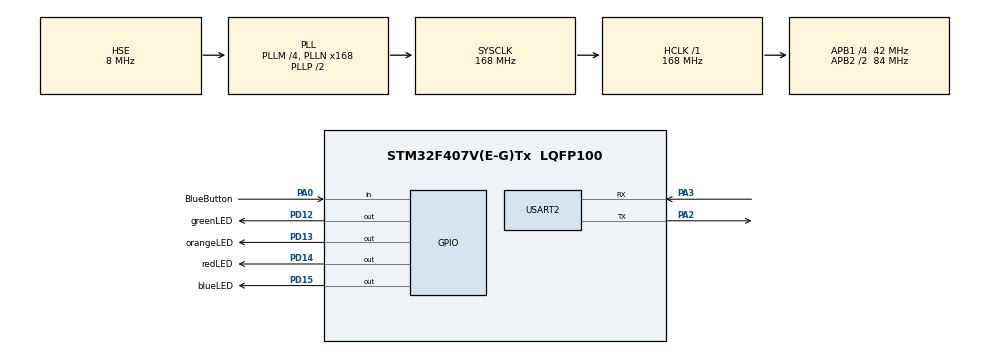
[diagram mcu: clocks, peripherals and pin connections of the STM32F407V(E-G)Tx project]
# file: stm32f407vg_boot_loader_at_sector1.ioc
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Mcu.Family=STM32F4
Mcu.Name=STM32F407V(E-G)Tx
Mcu.Package=LQFP100
NVIC.PriorityGroup=NVIC_PRIORITYGROUP_4
PA0-WKUP.GPIO_Label=BlueButton
PA0-WKUP.Signal=GPIO_Input
PA2.Mode=Asynchronous
PA2.Signal=USART2_TX
PA3.Mode=Asynchronous
PA3.Signal=USART2_RX
PD12.GPIO_Label=greenLED
PD12.Signal=GPIO_Output
PD13.GPIO_Label=orangeLED
PD13.Signal=GPIO_Output
PD14.GPIO_Label=redLED
PD14.Signal=GPIO_Output
PD15.GPIO_Label=blueLED
PD15.Signal=GPIO_Output
PH0-OSC_IN.Mode=HSE-External-Oscillator
PH0-OSC_IN.Signal=RCC_OSC_IN
PH1-OSC_OUT.Mode=HSE-External-Oscillator
PH1-OSC_OUT.Signal=RCC_OSC_OUT
ProjectManager.HeapSize=0x200
ProjectManager.StackSize=0x400
ProjectManager.TargetToolchain=STM32CubeIDE
RCC.48MHZClocksFreq_Value=84000000
RCC.AHBFreq_Value=168000000
RCC.APB1CLKDivider=RCC_HCLK_DIV4
RCC.APB1Freq_Value=42000000
RCC.APB1TimFreq_Value=84000000
RCC.APB2CLKDivider=RCC_HCLK_DIV2
RCC.APB2Freq_Value=84000000
RCC.APB2TimFreq_Value=168000000
RCC.CortexFreq_Value=168000000
RCC.HCLKFreq_Value=168000000
RCC.HSE_VALUE=8000000
RCC.HSI_VALUE=16000000
RCC.LSE_VALUE=32768
RCC.PLLM=4
RCC.PLLN=168
RCC.PLLSourceVirtual=RCC_PLLSOURCE_HSE
RCC.SYSCLKFreq_VALUE=168000000
RCC.SYSCLKSource=RCC_SYSCLKSOURCE_PLLCLK
RCC.VCOOutputFreq_Value=336000000
USART2.VirtualMode=VM_ASYNC
VP_CRC_VS_CRC.Mode=CRC_Activate
board=custom

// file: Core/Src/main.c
/* USER CODE BEGIN Header */
/**
  ******************************************************************************
  * @file           : main.c
  * @brief          : Main program body
  *
  *  Created on: Jul 5, 2023
  *      Author: Murat Şimşek
  ******************************************************************************
  */
/* USER CODE END Header */
#include "main.h"

/* USER CODE BEGIN PV */
uint8_t txBootData[]="boot_loader jump to user app \r\n";
uint8_t bl_rx_buffer[BL_RX_LEN];

uint32_t mem_address;
uint32_t value;
uint32_t output_data;

/* USER CODE END PV */

void SystemClock_Config(void);

/* USER CODE BEGIN 0 */
/**********************************************************************************
 *  Fonksiyon Adı: combine_uint8
 *  Açıklama: Bu fonksiyon, dört adet 8-bit tamsayıyı birleştirerek bir 32-bit tamsayı oluşturur.
 *
 *  Parametreler:
 *  - arr: 8-bit tamsayıları içeren bir dizi (4 elemanlı)
 *
 *  Dönüş Değeri: Oluşturulan 32-bit tamsayı değeri
 *
 *  Açıklama: Dört adet 8-bit tamsayıyı kullanarak bir 32-bit tamsayı oluşturur.
 *  İlk 8-bit tamsayıyı sonuçla OR işlemine tabi tutar.
 *  İkinci 8-bit tamsayıyı, 8 bit sola kaydırıp sonuçla OR işlemine tabi tutar.
 *  Üçüncü 8-bit tamsayıyı, 16 bit sola kaydırıp sonuçla OR işlemine tabi tutar.
 *  Dördüncü 8-bit tamsayıyı, 24 bit sola kaydırıp sonuçla OR işlemine tabi tutar.
 *  Oluşturulan 32-bit tamsayıyı döndürür.
 *
 **********************************************************************************/
uint32_t combine_uint8(uint8_t arr[4])
{
    uint32_t result = 0;

    result |= arr[0];
    result |= (uint32_t)arr[1] << 8;
    result |= (uint32_t)arr[2] << 16;
    result |= (uint32_t)arr[3] << 24;

    return result;
}

/**********************************************************************************
 *  Fonksiyon Adı: bootloader_uart_read_data
 *  Açıklama: Bu fonksiyon, bootloader tarafından UART üzerinden veri okur ve işlemler gerçekleştirir.
 *  - Yeşil LED'i tersler (HAZIR ve BOOT_LOAD konumunu gösterir).
 *
 *  Açıklama:
 *
 *  - YÜKLEME YAPMADAN ÖNCE SEKTÖR 2 TEMİZLENMELİDİR. (ST-LINK UTILITY)
 *
 *  - UART2 kanalını sürekli dinleyerek gelecek programı bekler.
 *  - Sonsuz bir döngü içinde POLL REQUEST modunda çalışır.
 *  - UART2 üzerinden BL_RX_LEN uzunluğunda veri alır. (15 Telemetri formatı.)
 *  - Alınan verinin başlangıç biti 0xA3 ise işlemlere devam eder. (Başlangıç Biti)
 *  - Veri 15 bitlik bl_rx_buffer değişkeninde tutulur.
 *  - Alınan verinin 14. indeksi 0x25 ise işlemlere devam eder. (Bitiş biti)
 *      - Mavi LED'i tersler. (Uygulama yüklenmeye başladı.)
 *      - Bellek adresini belirlemek için gerekli 4 adet veriyi (bl_rx_buffer[4] - bl_rx_buffer[7]) birleştirir.
 *      - Bellek adresini combine_uint8 fonksiyonu kullanarak 32-bit bir tamsayıya dönüştürür.
 *      - Bellek adresinin baytlarını uygun şekilde yerleştirerek output_data oluşturur.
 *      - Veri değerini belirlemek için gerekli 4 adet veriyi (bl_rx_buffer[10] - bl_rx_buffer[13]) birleştirir.
 *      - Veri değerini combine_uint8 fonksiyonu kullanarak 32-bit bir tamsayıya dönüştürür.
 *      - myVariable değişkenine 0x08000000 (SYSTEM_MEMORY_BASE) değerini atar.
 *      - myVariable ile value toplamını sum değişkenine atar.
 *      - FLASH belleğini kilitleyerek, sum adresine output_data'yı yazar.
 *    - Eğer alınan verinin başlangıç biti 0xA3 değilse, 0x55 değerini göndererek NACK (yanıt yok) gönderir.
 *      - bl_rx_buffer'ı sıfırlayarak gelen komutları dinler.
 *
 **********************************************************************************/
void bootloader_uart_read_data(void){
	erase_flash_sector();
	while(1){
		HAL_GPIO_TogglePin(greenLED_GPIO_Port, greenLED_Pin);
		HAL_UART_Receive(&huart2, (uint8_t*)&bl_rx_buffer, BL_RX_LEN, HAL_MAX_DELAY);

		if (bl_rx_buffer[0] == 0xA3){ // Başlangıç biti.
			HAL_GPIO_TogglePin(redLED_GPIO_Port, redLED_Pin); // HAZIR KONUMDADIR.
			if(bl_rx_buffer[14] == 0x25){
				HAL_GPIO_TogglePin(blueLED_GPIO_Port, blueLED_Pin);

				HAL_GPIO_TogglePin(redLED_GPIO_Port, redLED_Pin);
				//  02FC41EA
				uint8_t memory_address[4] = {
						bl_rx_buffer[4], bl_rx_buffer[5],bl_rx_buffer[6],bl_rx_buffer[7]
				};
				mem_address = combine_uint8(memory_address) ;
				uint32_t output_data = ((mem_address & 0xFF) << 24) | ((mem_address & 0xFF00) << 8) |
									  ((mem_address & 0xFF0000) >> 8) | ((mem_address >> 24) & 0xFF);

				// 0X08000220 - 0
				uint8_t data[4] = {
					   bl_rx_buffer[10], bl_rx_buffer[11],bl_rx_buffer[12],bl_rx_buffer[13]
				};

				value = combine_uint8(data);

				uint32_t myVariable = 0x08000000; // SYSTEM_MEMORY_BASE

				uint32_t sum = myVariable + value;
				HAL_FLASH_Unlock();
				HAL_FLASH_Program(FLASH_TYPEPROGRAM_WORD,sum,output_data);
				HAL_FLASH_Lock();
			}
		}else{
			uint8_t dataNack = 0x55; // 'U' byte'i HOST bilgisayara gönderilir.
			HAL_UART_Transmit(&huart2, &dataNack, 1, HAL_MAX_DELAY); // Veri indexlemesinde problem var.
			memset(bl_rx_buffer,0,BL_RX_LEN); // HOST yeniden başlat, verileri temizle.
		}
	}
}
/**********************************************************************************
 *
 * @brief Flash bellek sektörünü silen işlev.
 * Bu işlev, mikrodenetleyici üzerindeki flash bellek sektörünü silmek için kullanılır.
 * İşlev, belirli bir flash sektörünü silme işlemi gerçekleştirir ve bu sektörün içindeki tüm verileri temizler.
 * İşlevin çalışması için flash bellek önceden kilitleme işlemi yapılır ve sektör silme işlemi tamamlandıktan sonra
 * flash bellek tekrar kilitleme işlemi gerçekleştirilir.
 * Açıklama: Bu işlevi kullanmadan önce, flash bellek kilidinin açılması ve kilidin kapatılması işlemleri yapılmalıdır.
 *
 **********************************************************************************/

void erase_flash_sector(void)
{
    HAL_FLASH_Unlock();
    HAL_FLASH_OB_Unlock();
    // Flash bellek sektörünü sil
    FLASH_Erase_Sector(FLASH_SECTOR_2, VOLTAGE_RANGE_3);

    HAL_FLASH_OB_Lock();
    HAL_FLASH_Lock();
}
/**********************************************************************************
 * -> Fonksiyon Adı: bootloader_jump_to_user_app()
 * -> Açıklama: BOOT esnasında, button kesmesi alınmadığı durumda; Kullanıcı uygulamasına atlama fonksiyonu.
 * Fonksiyon sektör 2 bölümüne atanan kullanıcı uygulamasının MSP adresini çekerek user_app MSP adresi ile değiştirilir.
 * Değiştirilen MSP adresi ile direkt olarak sektör 2 (0x8008000) adresindeki uygulama çağırılır.
 * -> Parametreler:
 * param1: void
 * Dönüş Değeri: (fonksiyonun dönüş değeri ve neyi temsil ettiğiyle ilgili açıklama)
 * -> Kullanılan kütüphaneler: __set_MSP (CMSIS)
 * -> Dikkat Edilmesi Gereken Noktalar:
 * STM32F407DISC1 kartına güç verildiğinde, blue-push button konumuna göre kullanıcı uygulamasına atlanır.
 * -> Örnek Kullanım: FLASH_SECTOR2_BASE_ADDRESS SECTOR2 üzerinde kayıtlı olan kullanıcı uygulamasına atla.
 * bootloader_jumpt_to_user_app(void);
 * -> Notlar: .hex dosyası içeriğinde, MSP, Reset Handler konumu
 * 0x8008000     = FLASH_SECTOR2_BASE_ADDRESS
 * 0x8008000 [1] = MSP (Main Stack Pointer)
 * 0x8008000 [2] = Reset Handler
**********************************************************************************/
void bootloader_jump_to_user_app(void){
	void (*app_reset_handler) (void); // Kullanıcı programının reset handler'ini tutan pointer fonksiyonu

	uint32_t msp_value = *(volatile uint32_t *) FLASH_SECTOR_2_BASE_ADDRESS; // 0x8008000(Flash Memory Sector-2 MSP reading) (İlk terim == MSP_VALUE)

	//SCB---VTOR == FLASH_SECTOR1_BASE_ADDRESS; // Taşıma vektör işlemleri yapıldı.

	__set_MSP(msp_value); // başlangıç MSP değeri, sektör 2ye atanan MSP değeri ile değiştirilir.

	uint32_t resethandler_address = *(volatile uint32_t *) (FLASH_SECTOR_2_BASE_ADDRESS + 4);//Kullanıcı uygulamasının reset_handler adresi çekilir. (FLASH_SECTOR2_BASE_ADDRESS + 4)

	 app_reset_handler = (void*) resethandler_address; // bootloader reset handler yerine kullanıcı uygulaması resethandler yerleştirilir.

	 app_reset_handler(); // Reset atılır, kullanıcı uygulaması başlatılır.

}
/* USER CODE END 0 */

int main(void)
{

  /* MCU Configuration--------------------------------------------------------*/

  /* Reset of all peripherals, Initializes the Flash interface and the Systick. */
  HAL_Init();

  /* Configure the system clock */
  SystemClock_Config();

  /* Initialize all configured peripherals */
  MX_GPIO_Init();
  MX_CRC_Init();
  MX_USART2_UART_Init();

  /* Infinite loop */
  /* USER CODE BEGIN WHILE */
  /**********************************************************************************
   *  İlk güç verildiği esnada BlueButton_Pin durumu aranır. BlueButton basılı tutularak RESET butonuna basılırsa;
   *  bootloader_uart_read_data(); fonksiyonu çağırılır.
   *  Boot edilmesine izin verildiği durumda ise;
   *  bootloader_jump_to_user_app(); fonksiyonu çağırılır.
   **********************************************************************************/
  if (HAL_GPIO_ReadPin(BlueButton_GPIO_Port, BlueButton_Pin) != GPIO_PIN_RESET){ // User buttonuna basılı tutarak reset düğmesine basılırsa boot moduna girilir.
      bootloader_uart_read_data();
    }else{
  	  bootloader_jump_to_user_app(); // Başlangıçta herhangi bir işlem yapılmadı. 0x8008000 adresine git ve kullanıcı uygulamasını çalıştır.
    }
  while (1)
  {
    /* USER CODE END WHILE */

  }
}

/*
* @brief  System Clock Configuration
*         The system Clock is configured as follow :
*            System Clock source            = PLL HSE
*            HSE Frequency(Hz)              = 8000000
*            SYSCLK(Hz)                     = 16800000
*            AHB Prescaler                  = 1
*            APB1 Prescaler                 = 4
*            APB2 Prescaler                 = 2
*            PLL_M                          = 4
*            PLL_N                          = 168
*            PLL_P                          = 2
*            PLL_Q                          = 4
*            VDD(V)                         = 3.3
*            Main regulator output voltage  = Scale1 mode
*            Flash Latency(WS)              = 5 CYC
*			 APB1 P.C                       = 42 MHZ
*            APB2 P.C                       = 84 MHZ
*/
void SystemClock_Config(void)
{
  RCC_OscInitTypeDef RCC_OscInitStruct = {0};
  RCC_ClkInitTypeDef RCC_ClkInitStruct = {0};

  /** Configure the main internal regulator output voltage
  */
  __HAL_RCC_PWR_CLK_ENABLE();
  __HAL_PWR_VOLTAGESCALING_CONFIG(PWR_REGULATOR_VOLTAGE_SCALE1);

  /** Initializes the RCC Oscillators according to the specified parameters
  * in the RCC_OscInitTypeDef structure.
  */
  RCC_OscInitStruct.OscillatorType = RCC_OSCILLATORTYPE_HSE;
  RCC_OscInitStruct.HSEState = RCC_HSE_ON;
  RCC_OscInitStruct.PLL.PLLState = RCC_PLL_ON;
  RCC_OscInitStruct.PLL.PLLSource = RCC_PLLSOURCE_HSE;
  RCC_OscInitStruct.PLL.PLLM = 4;
  RCC_OscInitStruct.PLL.PLLN = 168;
  RCC_OscInitStruct.PLL.PLLP = RCC_PLLP_DIV2;
  RCC_OscInitStruct.PLL.PLLQ = 4;
  if (HAL_RCC_OscConfig(&RCC_OscInitStruct) != HAL_OK)
  {
    Error_Handler();
  }

  /** Initializes the CPU, AHB and APB buses clocks
  */
  RCC_ClkInitStruct.ClockType = RCC_CLOCKTYPE_HCLK|RCC_CLOCKTYPE_SYSCLK
                              |RCC_CLOCKTYPE_PCLK1|RCC_CLOCKTYPE_PCLK2;
  RCC_ClkInitStruct.SYSCLKSource = RCC_SYSCLKSOURCE_PLLCLK;
  RCC_ClkInitStruct.AHBCLKDivider = RCC_SYSCLK_DIV1;
  RCC_ClkInitStruct.APB1CLKDivider = RCC_HCLK_DIV4;
  RCC_ClkInitStruct.APB2CLKDivider = RCC_HCLK_DIV2;

  if (HAL_RCC_ClockConfig(&RCC_ClkInitStruct, FLASH_LATENCY_5) != HAL_OK)
  {
    Error_Handler();
  }
}

void Error_Handler(void)
{
  __disable_irq();
  while (1)
  {
  }
}
